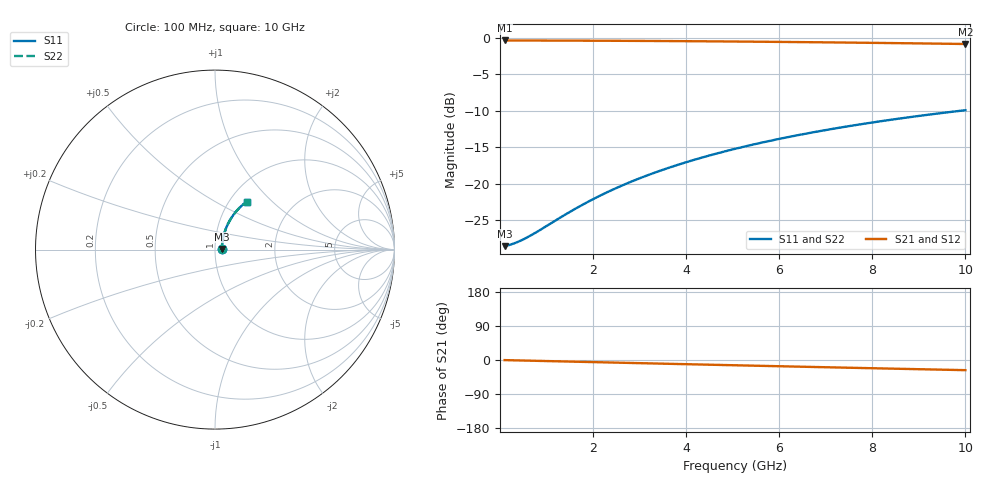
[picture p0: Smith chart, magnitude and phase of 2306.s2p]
# Hz S RI R 50.00
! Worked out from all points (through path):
!   100 points, 100 MHz to 10 GHz, reference 50 ohm
!   highest |S21| = -0.33 dB at 100 MHz (marker M1); lowest = -0.8 dB at 10 GHz (marker M2)
!   group delay of S21, straight-line fit = 7.46 ps
!   lowest |S11| = -28.6 dB at 100 MHz (marker M3), VSWR 1.08, Z = 53.9 + j0.35 ohm
!   |S11| at or under -10 dB: start of sweep to 9.866 GHz
!   |S22| runs from -28.6 to -9.9 dB; largest |S21 - S12| = 0
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1e8  0.0372 0.00325  0.9628 -0.00468  0.9628 -0.00468  0.0372 0.00325
2e8  0.0375 0.00649  0.9625 -0.00935  0.9625 -0.00935  0.0375 0.00649
3e8  0.0377 0.00973  0.9623 -0.014  0.9623 -0.014  0.0377 0.00973
4e8  0.038 0.013  0.962 -0.0187  0.962 -0.0187  0.038 0.013
6e8  0.0385 0.0194  0.9614 -0.028  0.9614 -0.028  0.0385 0.0194
8e8  0.0391 0.0259  0.9608 -0.0373  0.9608 -0.0373  0.0391 0.0259
1.4e9  0.0416 0.0451  0.9582 -0.0652  0.9582 -0.0652  0.0416 0.0451
1.8e9  0.0438 0.0578  0.9558 -0.0836  0.9558 -0.0836  0.0438 0.0578
2.2e9  0.0465 0.0704  0.953 -0.1019  0.953 -0.1019  0.0465 0.0704
2.6e9  0.0496 0.0829  0.9497 -0.1201  0.9497 -0.1201  0.0496 0.0829
3e9  0.0532 0.0952  0.9458 -0.1381  0.9458 -0.1381  0.0532 0.0952
3.4e9  0.0572 0.1073  0.9415 -0.156  0.9415 -0.156  0.0572 0.1073
3.8e9  0.0617 0.1193  0.9368 -0.1737  0.9368 -0.1737  0.0617 0.1193
4.2e9  0.0666 0.131  0.9315 -0.1911  0.9315 -0.1911  0.0666 0.131
4.6e9  0.0719 0.1424  0.9258 -0.2083  0.9258 -0.2083  0.0719 0.1424
5.1e9  0.0791 0.1564  0.9181 -0.2295  0.9181 -0.2295  0.0791 0.1564
5.9e9  0.0919 0.1778  0.9044 -0.2624  0.9044 -0.2624  0.0919 0.1778
6.7e9  0.1061 0.198  0.8891 -0.2941  0.8891 -0.2941  0.1061 0.198
7.5e9  0.1216 0.2169  0.8724 -0.3246  0.8724 -0.3246  0.1216 0.2169
8.4e9  0.1404 0.2365  0.8521 -0.3571  0.8521 -0.3571  0.1404 0.2365
9.2e9  0.1581 0.2523  0.8329 -0.3846  0.8329 -0.3846  0.1581 0.2523
1e10  0.1766 0.2667  0.8127 -0.4105  0.8127 -0.4105  0.1766 0.2667
